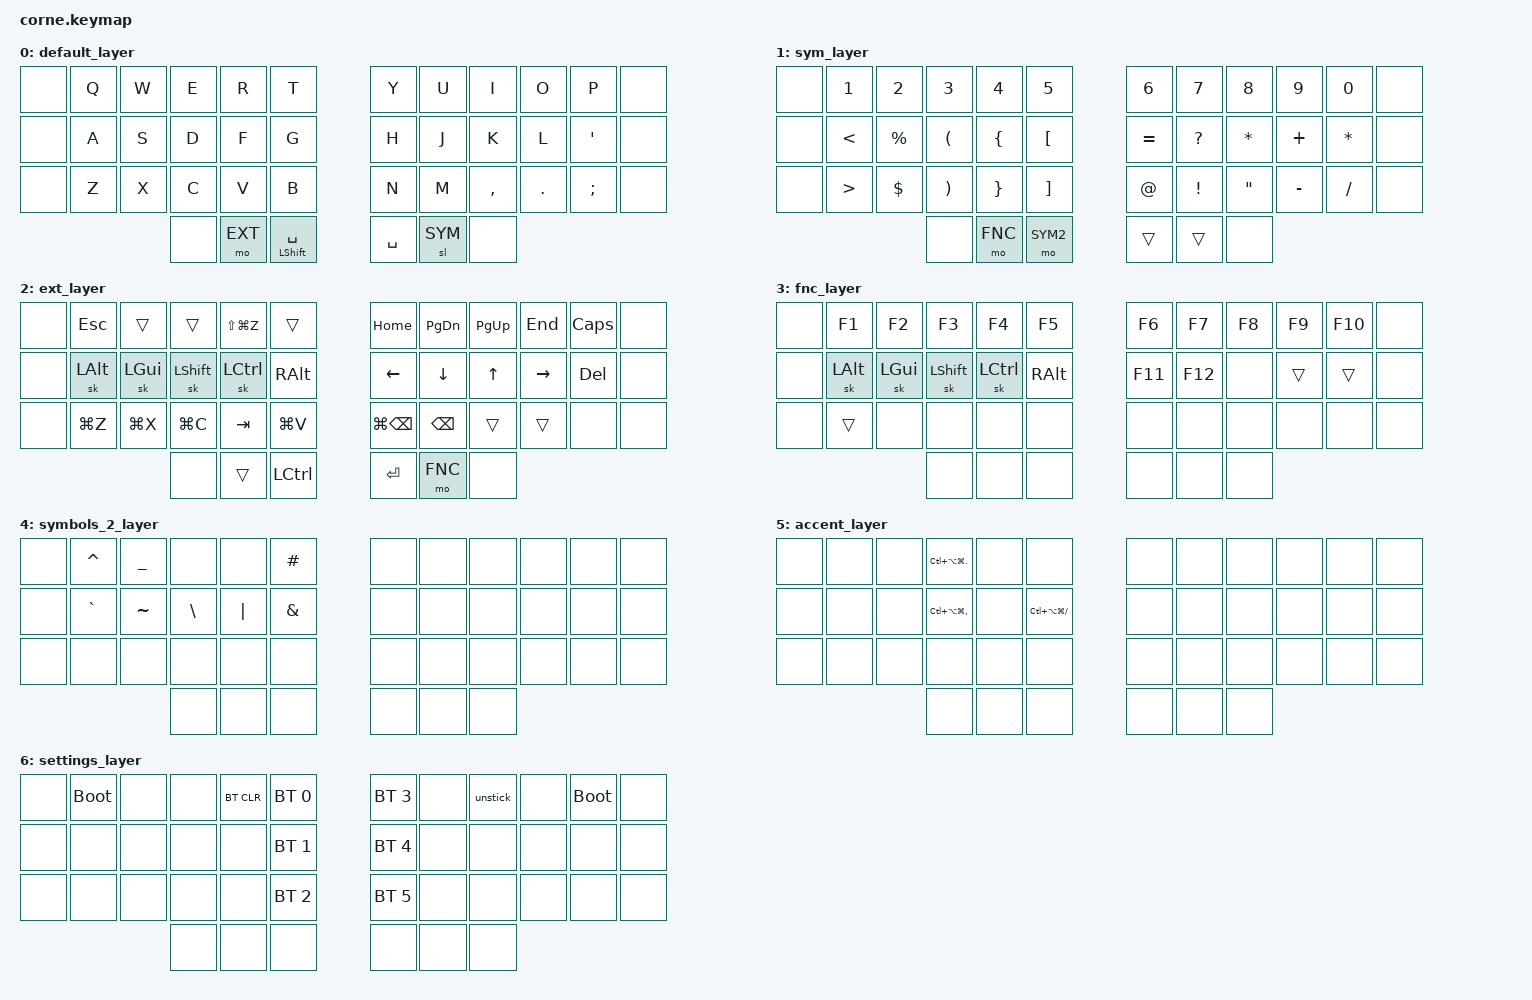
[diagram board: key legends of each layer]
/*
 * Copyright (c) 2020 The ZMK Contributors
 *
 * SPDX-License-Identifier: MIT
 */

#include <behaviors.dtsi>
#include <dt-bindings/zmk/keys.h>
#include <dt-bindings/zmk/bt.h>
#include "keymap_italian.h"

// Layer definitions
    #define BASE 0
    #define SYM 1
    #define EXT 2
    #define FNC 3
    #define SYM2 4
    #define ACCENT 5
		#define SETTINGS 6
// -----------------

&mt {
   //  flavor = "tap-preferred";
   // tapping_term_ms = <200>;
};

&sk {
    ignore-modifiers;
};

/ {
		macros {
				// sometimes my device thinks a modifier is being held down
				// pressing all modifiers fixes it.
				unstick: unstick {
					label = "ZM_unstick";
					compatible = "zmk,behavior-macro";
					#binding-cells = <0>;
					bindings
						= <&kp LSHIFT &kp RSHIFT &kp LCTRL &kp RCTRL &kp LALT &kp RALT &kp LGUI &kp RGUI>;
				};
		};

    combos {
        compatible = "zmk,combos";
				// both right thumb keys
        combo_accent {
            timeout-ms = <300>;
            key-positions = <39 40>;
            bindings = <&mo ACCENT>;
        };
				// internal-left & external-right thumb keys
				combo_sym2 {
						timeout-ms = <200>;
						key-positions = <38 40>;
						bindings = <&mo SYM2>;
				};
				// both left thumb keys
				combo_settings {
						timeout-ms = <300>;
						key-positions = <37 38>;
						bindings = <&mo SETTINGS>;
				};
    };

    keymap {
            compatible = "zmk,keymap";

        // Base alpha layer
       		default_layer {
		bindings = <
		&none &kp Q &kp W &kp E &kp R &kp T           &kp Y &kp U  &kp I     &kp O   &kp P &none
		&none &kp A &kp S &kp D &kp F &kp G           &kp H &kp J  &kp K     &kp L &kp SQT &none
		&none &kp Z &kp X &kp C &kp V &kp B           &kp N &kp M  &kp COMMA &kp DOT &kp SEMI &none
             &none &mo EXT &mt LSHIFT SPACE           &kp SPACE &sl SYM &none
		>;
		};

        // Numbers and high frequency symbols
       		sym_layer {
		bindings = <
		&none &kp N1 &kp N2 &kp N3 &kp N4 &kp N5		                                    &kp N6 &kp N7 &kp N8 &kp N9 &kp N0 &none
		&none &kp LESS_THAN  &kp PERCENT   &kp LEFT_PARENTHESIS   &kp LEFT_BRACE   &kp LEFT_BRACKET      &kp EQUAL     &kp QUESTION           &kp STAR   &kp PLUS  &kp ASTERISK &none
		&none &kp GREATER_THAN   &kp DOLLAR  &kp RIGHT_PARENTHESIS  &kp RIGHT_BRACE  &kp RIGHT_BRACKET    &kp AT_SIGN  &kp EXCLAMATION  &kp DOUBLE_QUOTES  &kp MINUS      &kp SLASH &none
					                                      &none &mo FNC  &mo SYM2      &trans &trans &none
		>;
		};

        // Main modifiers and arrow keys
		    ext_layer {
		bindings = <
		&none &kp ESC  &trans &trans  &kp LS(LG(Z)) &trans      			     &kp HOME &kp PG_DN &kp PG_UP &kp END &kp CAPS &none
		&none &sk LEFT_ALT   &sk LGUI  &sk LSHIFT  &sk LCTRL   &kp RALT 			&kp LEFT &kp DOWN &kp UP &kp RIGHT   &kp DEL &none
		&none &kp LG(Z)  &kp LG(X) &kp LG(C) &kp TAB   &kp LG(V)          &kp LG(BSPC) &kp BSPC &trans &trans  &none &none
					                       &none &trans &kp LCTRL   &kp ENTER  &mo FNC &none
		>;
		};

        // Function keys with modifiers
       		fnc_layer {
		bindings = <
		&none &kp F1 &kp F2 &kp F3 &kp F4 &kp F5                  &kp F6 &kp F7 &kp F8 &kp F9 &kp F10 &none
		&none &sk LEFT_ALT   &sk LGUI  &sk LSHIFT  &sk LCTRL   &kp RALT     &kp F11 &kp F12  &none &trans &trans &none
		&none &trans &none &none &none &none				          &none &none &none &none &none &none
          				          &none &none &none            &none  &none &none
		>;
		};

        // Low frequency symbols.
       		symbols_2_layer {
		bindings = <
		&none &kp CARET  &kp UNDERSCORE            &none   &none      &kp POUND         &none &none &none &none &none &none
		&none &kp GRAVE       &kp TILDE  &kp BACKSLASH    &kp PIPE  &kp AMPERSAND         &none &none &none &none &none &none
		&none &none 			&none 			 &none &none &none				  &none &none &none &none &none &none
          				           												&none &none &none        	&none &none &none
		>;
                };

        // Used to type regional accents.
       		accent_layer {
		bindings = <
		&none &none &none &kp LC(LA(LG(DOT))) &none &none                         &none &none &none &none &none &none
		&none &none &none &kp LC(LA(LG(COMMA))) &none &kp LC(LA(LG(SLASH)))                 &none &none &none &none &none &none
		&none &none &none &none &none &none                         &none &none &none &none &none &none
          				      &none &none &none                        &none &none &none
		>;
		};

        // Used to change the keyboard's settings.
       		settings_layer {
		bindings = <
		&none &bootloader &none &none &bt BT_CLR &bt BT_SEL 0               &bt BT_SEL 3 &none &unstick &none &bootloader &none
		&none &none &none &none &none      &bt BT_SEL 1 						  &bt BT_SEL 4 &none &none &none &none &none
		&none &none &none &none &none      &bt BT_SEL 2               &bt BT_SEL 5 &none &none &none &none &none
          				      &none &none &none                         &none &none &none
		>;
		};

	};
};
